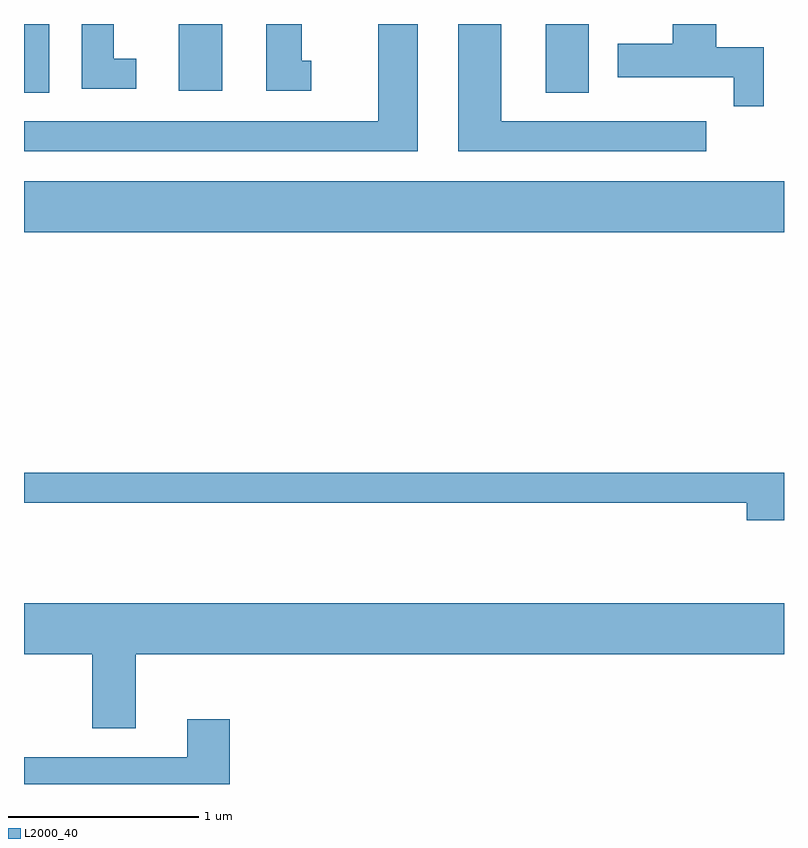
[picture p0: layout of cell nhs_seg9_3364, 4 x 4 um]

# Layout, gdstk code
import gdstk
lib = gdstk.Library(unit=1e-6, precision=1e-09)
def R(c, l, rs):  # rectangles x0, y0, x1, y1
    for r in rs: c.add(gdstk.rectangle(r[:2], r[2:], *l))
def P(c, l, *ps):  # polygons
    for p in ps: c.add(gdstk.Polygon(p, *l))
L2000_40 = (2000, 40)

nhs_seg9_3364 = lib.new_cell('nhs_seg9_3364')
R(nhs_seg9_3364, L2000_40, [(283.611,2027.336,287.611,2027.604), (283.611,2028.071,283.744,2028.432), (286.356,2028.071,286.584,2028.432), (284.426,2028.081,284.654,2028.432)])
P(nhs_seg9_3364, L2000_40, [(287.203,2027.919),(286.124,2027.919),(286.124,2028.432),(285.896,2028.432),(285.896,2027.761),(287.203,2027.761)],
  [(285.123,2028.239),(285.074,2028.239),(285.074,2028.432),(284.886,2028.432),(284.886,2028.081),(285.123,2028.081)],
  [(287.504,2028.309),(287.254,2028.309),(287.254,2028.432),(287.026,2028.432),(287.026,2028.329),(286.736,2028.329),(286.736,2028.151),(287.346,2028.151),(287.346,2027.998),(287.504,2027.998)],
  [(285.684,2028.432),(285.476,2028.432),(285.476,2027.919),(283.611,2027.919),(283.611,2027.761),(285.684,2027.761)],
  [(284.203,2028.249),(284.084,2028.249),(284.084,2028.432),(283.916,2028.432),(283.916,2028.091),(284.203,2028.091)],
  [(287.611,2026.069),(283.611,2026.069),(283.611,2025.911),(287.416,2025.911),(287.416,2025.821),(287.611,2025.821)],
  [(284.199,2025.116),(287.611,2025.116),(287.611,2025.384),(283.611,2025.384),(283.611,2025.116),(283.971,2025.116),(283.971,2024.726),(284.199,2024.726)],
  [(284.694,2024.774),(284.471,2024.774),(284.471,2024.574),(283.611,2024.574),(283.611,2024.432),(284.694,2024.432)])

lib.write_gds('nhs_seg9_3364.gds')
